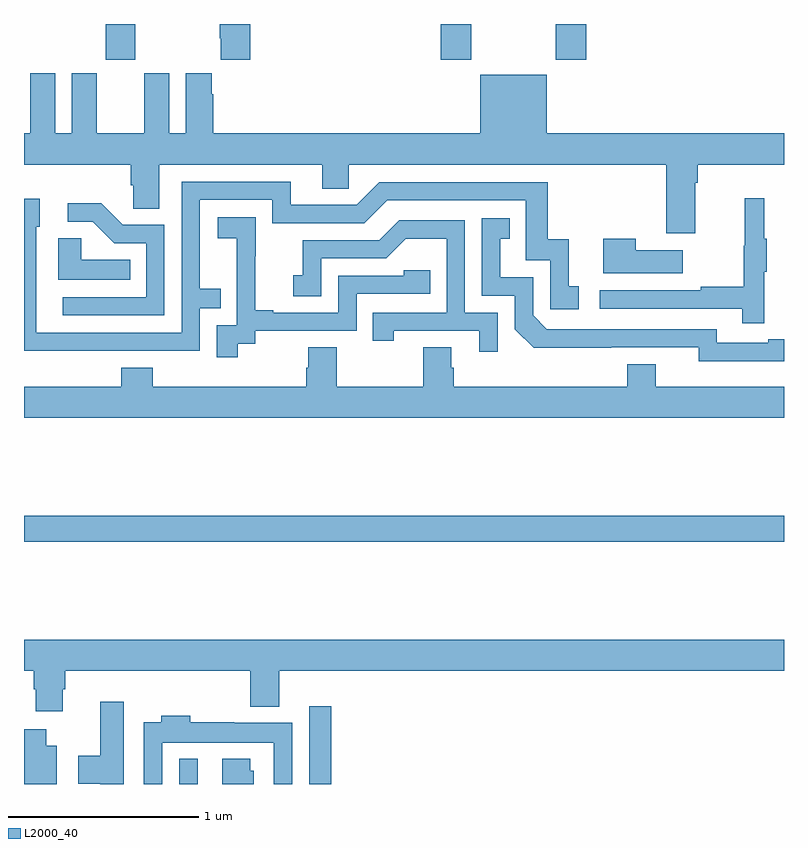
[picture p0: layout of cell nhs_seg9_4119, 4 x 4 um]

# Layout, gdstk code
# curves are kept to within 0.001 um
import gdstk
lib = gdstk.Library(unit=1e-6, precision=1e-09)
def R(c, l, rs):  # rectangles x0, y0, x1, y1
    for r in rs: c.add(gdstk.rectangle(r[:2], r[2:], *l))
def P(c, l, *ps):  # polygons
    for p in ps: c.add(gdstk.Polygon(p, *l))
L2000_40 = (2000, 40)

nhs_seg9_4119 = lib.new_cell('nhs_seg9_4119')
R(nhs_seg9_4119, L2000_40, [(347.817,1186.5,347.914,1186.633), (348.501,1186.5,348.617,1186.909), (347,1187.776,351,1187.912), (347.431,1190.313,347.586,1190.5), (349.193,1190.313,349.353,1190.5), (349.798,1190.313,349.958,1190.5)])
P(nhs_seg9_4119, L2000_40, [(348.191,1190.5),(348.031,1190.5),(348.031,1190.425),(348.035,1190.425),(348.035,1190.313),(348.191,1190.313)],
  [(350.533,1189.664),(350.546,1189.664),(350.546,1189.76),(351,1189.76),(351,1189.924),(349.75,1189.924),(349.75,1190.233),(349.4,1190.233),(349.4,1189.924),(347.996,1189.924),(347.996,1190.129),(347.989,1190.129),(347.989,1190.242),(347.852,1190.242),(347.852,1189.924),(347.764,1189.924),(347.764,1190.242),(347.633,1190.242),(347.633,1189.924),(347.383,1189.924),(347.383,1190.242),(347.252,1190.242),(347.252,1189.924),(347.164,1189.924),(347.164,1190.242),(347.033,1190.242),(347.033,1189.924),(347,1189.924),(347,1189.76),(347.561,1189.76),(347.561,1189.651),(347.574,1189.651),(347.574,1189.528),(347.713,1189.528),(347.713,1189.76),(348.569,1189.76),(348.569,1189.633),(348.708,1189.633),(348.708,1189.76),(350.381,1189.76),(350.381,1189.398),(350.533,1189.398)],
  [(347.429,1188.78),(347.925,1188.78),(347.925,1189.005),(348.035,1189.005),(348.035,1189.106),(347.925,1189.106),(347.925,1189.575),(348.306,1189.575),(348.306,1189.452),(348.792,1189.452),(348.912,1189.572),(349.641,1189.572),(349.641,1189.257),(349.77,1189.257),(349.77,1188.999),(349.921,1188.999),(349.921,1189.119),(349.868,1189.119),(349.868,1189.366),(349.757,1189.366),(349.757,1189.668),(348.87,1189.668),(348.75,1189.548),(348.403,1189.548),(348.403,1189.671),(347.829,1189.671),(347.829,1188.876),(347.064,1188.876),(347.064,1189.434),(347.083,1189.434),(347.083,1189.579),(347,1189.579),(347,1188.779)],
  [(350.897,1189.195),(350.908,1189.195),(350.908,1189.369),(350.897,1189.369),(350.897,1189.582),(350.794,1189.582),(350.794,1189.332),(350.787,1189.332),(350.787,1189.118),(350.563,1189.118),(350.563,1189.098),(350.031,1189.098),(350.031,1189.002),(350.779,1189.002),(350.779,1188.924),(350.897,1188.924)],
  [(347.739,1189.443),(347.52,1189.443),(347.407,1189.556),(347.229,1189.556),(347.229,1189.458),(347.363,1189.458),(347.474,1189.347),(347.643,1189.347),(347.643,1189.062),(347.205,1189.062),(347.205,1188.966),(347.739,1188.966)],
  [(348.124,1188.817),(348.216,1188.817),(348.216,1188.885),(348.75,1188.885),(348.75,1189.08),(349.139,1189.08),(349.139,1189.203),(348.999,1189.203),(348.999,1189.176),(348.654,1189.176),(348.654,1188.981),(348.313,1188.981),(348.313,1188.994),(348.218,1188.994),(348.218,1189.277),(348.219,1189.277),(348.219,1189.483),(348.021,1189.483),(348.021,1189.373),(348.119,1189.373),(348.119,1189.145),(348.12,1189.145),(348.12,1188.915),(348.015,1188.915),(348.015,1188.747),(348.124,1188.747)],
  [(350.918,1188.726),(351,1188.726),(351,1188.842),(350.918,1188.842),(350.918,1188.822),(350.646,1188.822),(350.646,1188.894),(349.752,1188.894),(349.68,1188.966),(349.68,1189.167),(349.507,1189.167),(349.507,1189.371),(349.556,1189.371),(349.556,1189.477),(349.41,1189.477),(349.41,1189.071),(349.584,1189.071),(349.584,1188.894),(349.682,1188.797),(350.55,1188.798),(350.55,1188.725)],
  [(349.494,1188.981),(349.32,1188.981),(349.32,1189.467),(348.974,1189.467),(348.869,1189.362),(348.466,1189.362),(348.466,1189.177),(348.417,1189.177),(348.417,1189.068),(348.564,1189.068),(348.564,1189.266),(348.906,1189.266),(349.01,1189.37),(349.224,1189.37),(349.224,1188.981),(348.835,1188.981),(348.835,1188.834),(348.946,1188.834),(348.946,1188.885),(349.397,1188.885),(349.397,1188.774),(349.494,1188.774)],
  [(347.558,1189.258),(347.301,1189.258),(347.301,1189.373),(347.18,1189.373),(347.18,1189.154),(347.558,1189.154)],
  [(350.467,1189.309),(350.219,1189.309),(350.219,1189.369),(350.048,1189.369),(350.048,1189.187),(350.467,1189.187)],
  [(351,1188.592),(350.326,1188.592),(350.326,1188.709),(350.174,1188.709),(350.174,1188.592),(349.262,1188.592),(349.262,1188.69),(349.249,1188.69),(349.249,1188.8),(349.102,1188.8),(349.102,1188.592),(348.645,1188.592),(348.645,1188.8),(348.497,1188.8),(348.497,1188.69),(348.485,1188.69),(348.485,1188.592),(347.678,1188.592),(347.678,1188.691),(347.513,1188.691),(347.513,1188.592),(347,1188.592),(347,1188.428),(351,1188.428)],
  [(347.203,1186.998),(347.216,1186.998),(347.216,1187.096),(348.191,1187.096),(348.191,1186.907),(348.343,1186.907),(348.343,1187.096),(351,1187.096),(351,1187.26),(347,1187.26),(347,1187.096),(347.051,1187.096),(347.051,1186.998),(347.063,1186.998),(347.063,1186.884),(347.203,1186.884)],
  [(347.524,1186.933),(347.402,1186.933),(347.402,1186.65),(347.285,1186.65),(347.285,1186.502),(347.402,1186.502),(347.402,1186.5),(347.524,1186.5)],
  [(347.727,1186.718),(348.315,1186.718),(348.315,1186.5),(348.411,1186.5),(348.411,1186.822),(348.107,1186.822),(348.107,1186.825),(347.876,1186.825),(347.876,1186.858),(347.723,1186.858),(347.723,1186.825),(347.631,1186.825),(347.631,1186.5),(347.727,1186.5)],
  [(347.173,1186.702),(347.116,1186.702),(347.116,1186.789),(347,1186.789),(347,1186.5),(347.173,1186.5)],
  [(348.208,1186.569),(348.19,1186.569),(348.19,1186.633),(348.044,1186.633),(348.044,1186.5),(348.208,1186.5)])

lib.write_gds('nhs_seg9_4119.gds')
